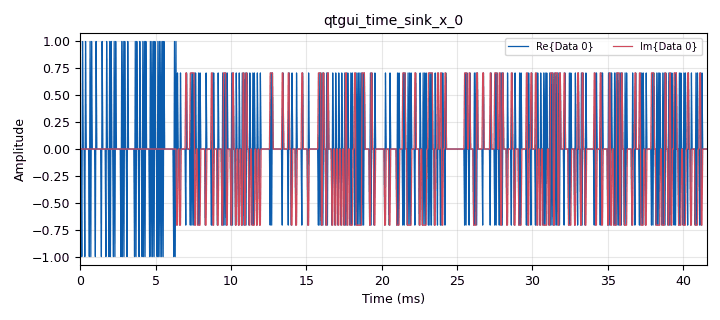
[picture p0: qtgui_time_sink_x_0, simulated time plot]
<?xml version='1.0' encoding='utf-8'?>
<?grc format='1' created='3.7.11'?>
<flow_graph>
<block>
<key>options</key>
<param><key>id</key><value>packet_example</value></param>
<param><key>generate_options</key><value>qt_gui</value></param>
</block>
<block>
<key>variable_constellation</key>
<param><key>id</key><value>Const_HDR</value></param>
<param><key>const_points</key><value>digital.psk_2()[0]</value></param>
<param><key>type</key><value>calcdist</value></param>
<param><key>dims</key><value>1</value></param>
<param><key>rot_sym</key><value>2</value></param>
<param><key>soft_dec_lut</key><value>'auto'</value></param>
<param><key>precision</key><value>8</value></param>
<param><key>sym_map</key><value>digital.psk_2()[1]</value></param>
</block>
<block>
<key>variable_constellation</key>
<param><key>id</key><value>Const_PLD</value></param>
<param><key>const_points</key><value>digital.psk_4()[0]</value></param>
<param><key>type</key><value>calcdist</value></param>
<param><key>dims</key><value>1</value></param>
<param><key>rot_sym</key><value>4</value></param>
<param><key>soft_dec_lut</key><value>'auto'</value></param>
<param><key>precision</key><value>8</value></param>
<param><key>sym_map</key><value>digital.psk_4()[1]</value></param>
</block>
<block>
<key>variable_constellation</key>
<param><key>id</key><value>constel</value></param>
<param><key>const_points</key><value>[1,- 1]</value></param>
<param><key>type</key><value>calcdist</value></param>
<param><key>dims</key><value>1</value></param>
<param><key>rot_sym</key><value>2</value></param>
<param><key>precision</key><value>8</value></param>
<param><key>sym_map</key><value>[0,1]</value></param>
</block>
<block>
<key>variable</key>
<param><key>id</key><value>eb</value></param>
<param><key>value</key><value>0.22</value></param>
</block>
<block>
<key>variable</key>
<param><key>id</key><value>hdr_format</value></param>
<param><key>value</key><value>digital.header_format_counter(digital.packet_utils.default_access_code, 3, Const_PLD.bits_per_symbol())</value></param>
</block>
<block>
<key>variable</key>
<param><key>id</key><value>nfilts</value></param>
<param><key>value</key><value>32</value></param>
</block>
<block>
<key>variable</key>
<param><key>id</key><value>preamble</value></param>
<param><key>value</key><value>[1,-1,1,-1,1,1,-1,-1,1,1,-1,1,1,1,-1,1,1,-1,1,-1,-1,1,-1,-1,1,1,1,-1,-1,-1,1,-1,1,1,1,1,-1,-1,1,-1,1,-1,-1,-1,1,1,-1,-1,-1,-1,1,-1,-1,-1,-1,-1,1,1,1,1,1,1,-1,-1]</value></param>
</block>
<block>
<key>variable</key>
<param><key>id</key><value>samp_rate</value></param>
<param><key>value</key><value>20000</value></param>
</block>
<block>
<key>variable</key>
<param><key>id</key><value>sps</value></param>
<param><key>value</key><value>2</value></param>
</block>
<block>
<key>variable_rrc_filter_taps</key>
<param><key>id</key><value>tx_rrc_taps</value></param>
<param><key>alpha</key><value>eb</value></param>
<param><key>gain</key><value>nfilts</value></param>
<param><key>ntaps</key><value>5*sps*nfilts</value></param>
<param><key>samp_rate</key><value>nfilts</value></param>
<param><key>sym_rate</key><value>1.0</value></param>
</block>
<block>
<key>blocks_message_strobe</key>
<param><key>id</key><value>blocks_message_strobe_0</value></param>
<param><key>msg</key><value>pmt.intern("TEST")</value></param>
<param><key>period</key><value>2000</value></param>
</block>
<block>
<key>blocks_pack_k_bits_bb</key>
<param><key>id</key><value>blocks_pack_k_bits_bb_0</value></param>
<param><key>_enabled</key><value>0</value></param>
<param><key>k</key><value>8</value></param>
</block>
<block>
<key>blocks_pdu_to_tagged_stream</key>
<param><key>id</key><value>blocks_pdu_to_tagged_stream_0</value></param>
<param><key>type</key><value>byte</value></param>
<param><key>tag</key><value>packet_len</value></param>
</block>
<block>
<key>blocks_pdu_to_tagged_stream</key>
<param><key>id</key><value>blocks_pdu_to_tagged_stream_1</value></param>
<param><key>type</key><value>byte</value></param>
<param><key>tag</key><value>packet_len</value></param>
</block>
<block>
<key>blocks_random_pdu</key>
<param><key>id</key><value>blocks_random_pdu_0</value></param>
<param><key>mask</key><value>0xFF</value></param>
<param><key>length_modulo</key><value>2</value></param>
<param><key>maxsize</key><value>200</value></param>
<param><key>minsize</key><value>50</value></param>
</block>
<block>
<key>blocks_repack_bits_bb</key>
<param><key>id</key><value>blocks_repack_bits_bb_0</value></param>
<param><key>k</key><value>8</value></param>
<param><key>l</key><value>Const_PLD.bits_per_symbol()</value></param>
<param><key>endianness</key><value>gr.GR_MSB_FIRST</value></param>
<param><key>len_tag_key</key><value>packet_len</value></param>
</block>
<block>
<key>blocks_repack_bits_bb</key>
<param><key>id</key><value>blocks_repack_bits_bb_1</value></param>
<param><key>k</key><value>8</value></param>
<param><key>l</key><value>Const_HDR.bits_per_symbol()</value></param>
<param><key>endianness</key><value>gr.GR_MSB_FIRST</value></param>
<param><key>len_tag_key</key><value>packet_len</value></param>
</block>
<block>
<key>blocks_stream_to_tagged_stream</key>
<param><key>id</key><value>blocks_stream_to_tagged_stream_0</value></param>
<param><key>_enabled</key><value>0</value></param>
<param><key>len_tag_key</key><value>packet_len</value></param>
<param><key>packet_len</key><value>len(preamble)*sps</value></param>
<param><key>type</key><value>complex</value></param>
</block>
<block>
<key>blocks_tagged_stream_mux</key>
<param><key>id</key><value>blocks_tagged_stream_mux_0</value></param>
<param><key>type</key><value>complex</value></param>
<param><key>lengthtagname</key><value>packet_len</value></param>
<param><key>ninputs</key><value>2</value></param>
</block>
<block>
<key>blocks_vector_source_x</key>
<param><key>id</key><value>blocks_vector_source_x_0_0</value></param>
<param><key>_enabled</key><value>0</value></param>
<param><key>type</key><value>byte</value></param>
<param><key>repeat</key><value>True</value></param>
<param><key>vector</key><value>map(lambda x: (-x+1)/2, preamble)</value></param>
</block>
<block>
<key>digital_chunks_to_symbols_xx</key>
<param><key>id</key><value>digital_chunks_to_symbols_xx_0</value></param>
<param><key>dimension</key><value>2</value></param>
<param><key>in_type</key><value>byte</value></param>
<param><key>out_type</key><value>complex</value></param>
<param><key>symbol_table</key><value>Const_HDR.points()</value></param>
</block>
<block>
<key>digital_chunks_to_symbols_xx</key>
<param><key>id</key><value>digital_chunks_to_symbols_xx_1</value></param>
<param><key>dimension</key><value>2</value></param>
<param><key>in_type</key><value>byte</value></param>
<param><key>out_type</key><value>complex</value></param>
<param><key>symbol_table</key><value>Const_PLD.points()</value></param>
</block>
<block>
<key>digital_constellation_modulator</key>
<param><key>id</key><value>digital_constellation_modulator_0</value></param>
<param><key>constellation</key><value>constel</value></param>
<param><key>differential</key><value>False</value></param>
<param><key>_enabled</key><value>0</value></param>
<param><key>excess_bw</key><value>eb</value></param>
<param><key>samples_per_symbol</key><value>sps</value></param>
</block>
<block>
<key>digital_crc32_async_bb</key>
<param><key>id</key><value>digital_crc32_async_bb_0</value></param>
<param><key>check</key><value>False</value></param>
</block>
<block>
<key>digital_map_bb</key>
<param><key>id</key><value>digital_map_bb_0</value></param>
<param><key>map</key><value>Const_HDR.pre_diff_code()</value></param>
</block>
<block>
<key>digital_map_bb</key>
<param><key>id</key><value>digital_map_bb_1</value></param>
<param><key>map</key><value>Const_PLD.pre_diff_code()</value></param>
</block>
<block>
<key>digital_protocol_formatter_async</key>
<param><key>id</key><value>digital_protocol_formatter_async_0</value></param>
<param><key>format</key><value>hdr_format</value></param>
</block>
<block>
<key>qtgui_time_sink_x</key>
<param><key>id</key><value>qtgui_time_sink_x_0</value></param>
<param><key>gui_hint</key><value>tab0@0</value></param>
<param><key>color1</key><value>"blue"</value></param>
<param><key>label1</key><value></value></param>
<param><key>color2</key><value>"red"</value></param>
<param><key>label2</key><value></value></param>
<param><key>size</key><value>1024</value></param>
<param><key>srate</key><value>samp_rate</value></param>
<param><key>type</key><value>complex</value></param>
</block>
<block>
<key>qtgui_tab_widget</key>
<param><key>id</key><value>tab0</value></param>
<param><key>label0</key><value>Tab 0</value></param>
<param><key>num_tabs</key><value>1</value></param>
</block>
<connection><source_block_id>blocks_message_strobe_0</source_block_id><sink_block_id>digital_crc32_async_bb_0</sink_block_id><source_key>strobe</source_key><sink_key>in</sink_key></connection>
<connection><source_block_id>blocks_pack_k_bits_bb_0</source_block_id><sink_block_id>digital_constellation_modulator_0</sink_block_id><source_key>0</source_key><sink_key>0</sink_key></connection>
<connection><source_block_id>blocks_pdu_to_tagged_stream_0</source_block_id><sink_block_id>blocks_repack_bits_bb_1</sink_block_id><source_key>0</source_key><sink_key>0</sink_key></connection>
<connection><source_block_id>blocks_pdu_to_tagged_stream_1</source_block_id><sink_block_id>blocks_repack_bits_bb_0</sink_block_id><source_key>0</source_key><sink_key>0</sink_key></connection>
<connection><source_block_id>blocks_random_pdu_0</source_block_id><sink_block_id>blocks_message_strobe_0</sink_block_id><source_key>pdus</source_key><sink_key>set_msg</sink_key></connection>
<connection><source_block_id>blocks_repack_bits_bb_0</source_block_id><sink_block_id>digital_map_bb_1</sink_block_id><source_key>0</source_key><sink_key>0</sink_key></connection>
<connection><source_block_id>blocks_repack_bits_bb_1</source_block_id><sink_block_id>digital_map_bb_0</sink_block_id><source_key>0</source_key><sink_key>0</sink_key></connection>
<connection><source_block_id>blocks_tagged_stream_mux_0</source_block_id><sink_block_id>qtgui_time_sink_x_0</sink_block_id><source_key>0</source_key><sink_key>0</sink_key></connection>
<connection><source_block_id>blocks_vector_source_x_0_0</source_block_id><sink_block_id>blocks_pack_k_bits_bb_0</sink_block_id><source_key>0</source_key><sink_key>0</sink_key></connection>
<connection><source_block_id>digital_chunks_to_symbols_xx_0</source_block_id><sink_block_id>blocks_tagged_stream_mux_0</sink_block_id><source_key>0</source_key><sink_key>0</sink_key></connection>
<connection><source_block_id>digital_chunks_to_symbols_xx_1</source_block_id><sink_block_id>blocks_tagged_stream_mux_0</sink_block_id><source_key>0</source_key><sink_key>1</sink_key></connection>
<connection><source_block_id>digital_constellation_modulator_0</source_block_id><sink_block_id>blocks_stream_to_tagged_stream_0</sink_block_id><source_key>0</source_key><sink_key>0</sink_key></connection>
<connection><source_block_id>digital_crc32_async_bb_0</source_block_id><sink_block_id>digital_protocol_formatter_async_0</sink_block_id><source_key>out</source_key><sink_key>in</sink_key></connection>
<connection><source_block_id>digital_map_bb_0</source_block_id><sink_block_id>digital_chunks_to_symbols_xx_0</sink_block_id><source_key>0</source_key><sink_key>0</sink_key></connection>
<connection><source_block_id>digital_map_bb_1</source_block_id><sink_block_id>digital_chunks_to_symbols_xx_1</sink_block_id><source_key>0</source_key><sink_key>0</sink_key></connection>
<connection><source_block_id>digital_protocol_formatter_async_0</source_block_id><sink_block_id>blocks_pdu_to_tagged_stream_0</sink_block_id><source_key>header</source_key><sink_key>pdus</sink_key></connection>
<connection><source_block_id>digital_protocol_formatter_async_0</source_block_id><sink_block_id>blocks_pdu_to_tagged_stream_1</sink_block_id><source_key>payload</source_key><sink_key>pdus</sink_key></connection>
</flow_graph>
